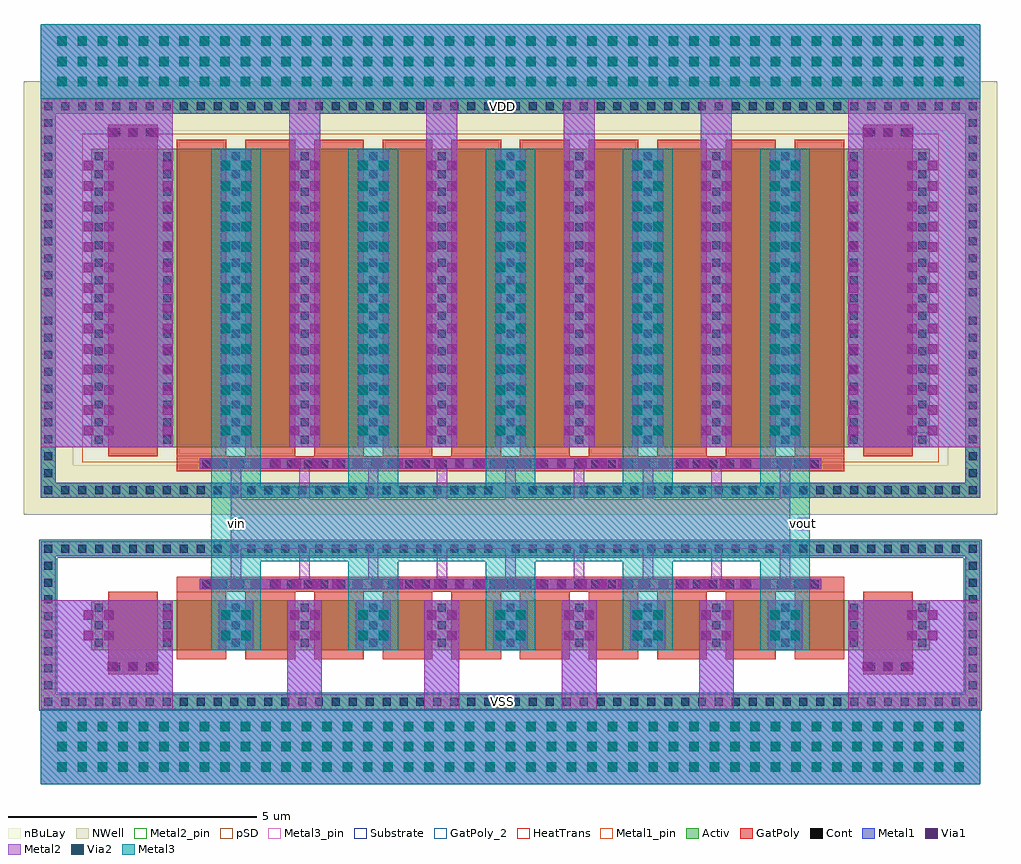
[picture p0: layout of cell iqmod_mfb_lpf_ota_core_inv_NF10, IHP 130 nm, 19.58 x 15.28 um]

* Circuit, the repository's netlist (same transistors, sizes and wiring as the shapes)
** sch_path: /foss/designs/TinyWhisper/ihp130/macros/iqmod/xschem/iqmod_mfb_lpf_ota_core_inv_NF10.sch
.subckt iqmod_mfb_lpf_ota_core_inv_NF10 nwell psub VDD vin vout VSS
*.PININFO vin:I VDD:B VSS:B vout:B nwell:B psub:B
MM1 vout vin VSS psub sg13_lv_nmos w=10.0u l=1.0u ng=10
MM2 vout vin VDD nwell sg13_lv_pmos w=60.0u l=1.0u ng=10
MMdummy1 VSS VSS VSS psub sg13_lv_nmos w=2.0u l=1.0u ng=2
MMdummy2 VDD VDD VDD nwell sg13_lv_pmos w=12.0u l=1.0u ng=2
RR1 VDD nwell ntap1 A=1.578e-11 P=0.0001052
RR2 VSS psub ptap1 A=1.2996e-11 P=8.664e-05
.ends

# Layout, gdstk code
import gdstk
lib = gdstk.Library(unit=1e-6, precision=5e-09)
def R(c, l, rs):  # rectangles x0, y0, x1, y1
    for r in rs: c.add(gdstk.rectangle(r[:2], r[2:], *l))
def A(c, l, x, y, w, h, nx, ny, dx, dy):  # array of equal rectangles
    R(c, l, [(x+i*dx, y+j*dy, x+i*dx+w, y+j*dy+h) for i in range(nx) for j in range(ny)])
def P(c, l, *ps):  # polygons
    for p in ps: c.add(gdstk.Polygon(p, *l))
Activ = (1, 0)
GatPoly = (5, 0)
GatPoly_2 = (5, 2)
Cont = (6, 0)
Metal1 = (8, 0)
Metal1_pin = (8, 2)
Metal2 = (10, 0)
Metal2_pin = (10, 2)
pSD = (14, 0)
Via1 = (19, 0)
Via2 = (29, 0)
Metal3 = (30, 0)
Metal3_pin = (30, 2)
NWell = (31, 0)
nBuLay = (32, 0)
Substrate = (40, 0)
HeatTrans = (51, 0)

pmos = lib.new_cell('pmos')
A(pmos, Activ, 0, 0, 0.3, 0.3, 13, 1, 1.38, 0)
R(pmos, Activ, [(-1.01,-0.71,-0.71,6.71), (17.57,-0.71,17.87,6.71), (0,0,16.86,6), (-1.01,6.71,17.87,7.01)])
P(pmos, Activ, [(-1.01,-1.01),(-1.01,6.71),(-0.71,6.71),(-0.71,-0.71),(17.57,-0.71),(17.57,6.71),(-1.01,6.71),(-1.01,7.01),(17.87,7.01),(17.87,-1.01)])
A(pmos, GatPoly, 0.34, -0.18, 1, 6.36, 12, 1, 1.38, 0)
R(pmos, GatPoly, [(0.34,-0.18,1.34,6.18)])
A(pmos, Cont, -0.94, -0.94, 0.16, 0.16, 27, 2, 0.34, 7.72)
A(pmos, Cont, 8.46, -0.94, 0.16, 0.16, 28, 2, 0.34, 7.72)
A(pmos, Cont, -0.94, -0.6, 0.16, 0.16, 1, 10, 0, 0.34)
A(pmos, Cont, 17.64, -0.6, 0.16, 0.16, 1, 10, 0, 0.34)
A(pmos, Cont, 0.07, 0.07, 0.16, 0.16, 13, 4, 1.38, 0.355)
A(pmos, Cont, 0.07, 1.495, 0.16, 0.16, 13, 4, 1.38, 0.355)
A(pmos, Cont, 0.07, 2.92, 0.16, 0.16, 13, 4, 1.38, 0.355)
A(pmos, Cont, -0.94, 3.04, 0.16, 0.16, 1, 11, 0, 0.34)
A(pmos, Cont, 17.64, 3.04, 0.16, 0.16, 1, 11, 0, 0.34)
A(pmos, Cont, 0.07, 4.345, 0.16, 0.16, 13, 4, 1.38, 0.355)
A(pmos, Cont, 0.07, 5.77, 0.16, 0.16, 13, 1, 1.38, 0)
A(pmos, Metal1, 1.45, 0, 0.16, 6, 12, 1, 1.38, 0)
R(pmos, Metal1, [(-1.01,-1.01,17.87,-0.71), (-1.01,-0.71,-0.71,6.71), (17.57,-0.71,17.87,6.71), (0.07,0,0.23,6), (0.07,0,0.23,6), (1.45,0,1.61,6), (-1.01,6.71,17.87,7.01)])
R(pmos, pSD, [(-0.18,-0.3,17.04,6.3)])
R(pmos, NWell, [(-1.36,-1.36,18.22,7.36), (-0.31,-0.31,17.17,6.31)])
R(pmos, nBuLay, [(-1.36,-0.36,-0.36,6.36), (17.22,-0.36,18.22,6.36), (-1.36,6.36,18.22,7.36)])
P(pmos, nBuLay, [(-1.36,-1.36),(-1.36,6.36),(-0.36,6.36),(-0.36,-0.36),(17.22,-0.36),(17.22,6.36),(-1.36,6.36),(-1.36,7.36),(18.22,7.36),(18.22,-1.36)])
R(pmos, Substrate, [(16.56,0,16.86,0.3)])
A(pmos, HeatTrans, 0.34, -0.18, 1, 6.36, 12, 1, 1.38, 0)
pmos.add(gdstk.Label('pmos', (0.84,3), layer=63, texttype=0))
pmos.add(gdstk.Label('well', (8.43,-0.86), layer=63, texttype=0))
pmos.add(gdstk.Label('pmos', (0.84,3), layer=51, texttype=0))
pmos.add(gdstk.Label('pmos', (2.22,3), layer=51, texttype=0))
pmos.add(gdstk.Label('pmos', (3.6,3), layer=51, texttype=0))
pmos.add(gdstk.Label('pmos', (4.98,3), layer=51, texttype=0))
pmos.add(gdstk.Label('pmos', (6.36,3), layer=51, texttype=0))
pmos.add(gdstk.Label('pmos', (7.74,3), layer=51, texttype=0))
pmos.add(gdstk.Label('pmos', (9.12,3), layer=51, texttype=0))
pmos.add(gdstk.Label('pmos', (10.5,3), layer=51, texttype=0))
pmos.add(gdstk.Label('pmos', (11.88,3), layer=51, texttype=0))
pmos.add(gdstk.Label('pmos', (13.26,3), layer=51, texttype=0))
pmos.add(gdstk.Label('pmos', (14.64,3), layer=51, texttype=0))
pmos.add(gdstk.Label('pmos', (16.02,3), layer=51, texttype=0))

nmos_1 = lib.new_cell('nmos$1')
A(nmos_1, Activ, 0, 0, 0.3, 0.3, 13, 1, 1.38, 0)
R(nmos_1, Activ, [(-1.01,-0.89,-0.71,1.89), (17.57,-0.89,17.87,1.89), (0,0,16.86,1), (-1.01,1.89,17.87,2.19)])
P(nmos_1, Activ, [(-1.01,-1.19),(-1.01,1.89),(-0.71,1.89),(-0.71,-0.89),(17.57,-0.89),(17.57,1.89),(-1.01,1.89),(-1.01,2.19),(17.87,2.19),(17.87,-1.19)])
A(nmos_1, GatPoly, 0.34, -0.18, 1, 1.36, 12, 1, 1.38, 0)
R(nmos_1, GatPoly_2, [(0.34,-0.18,1.34,1.18)])
A(nmos_1, Cont, -0.94, -1.12, 0.16, 0.16, 27, 2, 0.34, 3.08)
A(nmos_1, Cont, 8.46, -1.12, 0.16, 0.16, 28, 2, 0.34, 3.08)
A(nmos_1, Cont, -0.94, -0.78, 0.16, 0.16, 1, 4, 0, 0.34)
A(nmos_1, Cont, 17.64, -0.78, 0.16, 0.16, 1, 4, 0, 0.34)
A(nmos_1, Cont, 0.07, 0.07, 0.16, 0.16, 13, 3, 1.38, 0.35)
A(nmos_1, Cont, -0.94, 0.6, 0.16, 0.16, 1, 4, 0, 0.34)
A(nmos_1, Cont, 17.64, 0.6, 0.16, 0.16, 1, 4, 0, 0.34)
A(nmos_1, Metal1, 0.07, 0, 0.16, 1, 13, 1, 1.38, 0)
R(nmos_1, Metal1, [(-1.01,-1.19,17.87,-0.89), (-1.01,-0.89,-0.71,1.89), (17.57,-0.89,17.87,1.89), (-1.01,1.89,17.87,2.19)])
R(nmos_1, Metal1_pin, [(0.07,0,0.23,1), (1.45,0,1.61,1)])
R(nmos_1, pSD, [(-1.04,-0.86,-0.68,1.86), (17.54,-0.86,17.9,1.86), (-1.04,1.86,17.9,2.22)])
P(nmos_1, pSD, [(-1.04,-1.22),(-1.04,1.86),(-0.68,1.86),(-0.68,-0.86),(17.54,-0.86),(17.54,1.86),(-1.04,1.86),(-1.04,2.22),(17.9,2.22),(17.9,-1.22)])
R(nmos_1, Substrate, [(-1.04,-0.86,-0.68,1.86), (17.54,-0.86,17.9,1.86), (-1.04,1.86,17.9,2.22)])
P(nmos_1, Substrate, [(-1.04,-1.22),(-1.04,1.86),(-0.68,1.86),(-0.68,-0.86),(17.54,-0.86),(17.54,1.86),(-1.04,1.86),(-1.04,2.22),(17.9,2.22),(17.9,-1.22)])
A(nmos_1, HeatTrans, 0.34, -0.18, 1, 1.36, 12, 1, 1.38, 0)
nmos_1.add(gdstk.Label('nmos', (0.84,0.5), layer=63, texttype=0))
nmos_1.add(gdstk.Label('sub!', (8.43,-1.04), layer=63, texttype=0))
nmos_1.add(gdstk.Label('nmos', (0.84,0.5), layer=51, texttype=0))
nmos_1.add(gdstk.Label('nmos', (2.22,0.5), layer=51, texttype=0))
nmos_1.add(gdstk.Label('nmos', (3.6,0.5), layer=51, texttype=0))
nmos_1.add(gdstk.Label('nmos', (4.98,0.5), layer=51, texttype=0))
nmos_1.add(gdstk.Label('nmos', (6.36,0.5), layer=51, texttype=0))
nmos_1.add(gdstk.Label('nmos', (7.74,0.5), layer=51, texttype=0))
nmos_1.add(gdstk.Label('nmos', (9.12,0.5), layer=51, texttype=0))
nmos_1.add(gdstk.Label('nmos', (10.5,0.5), layer=51, texttype=0))
nmos_1.add(gdstk.Label('nmos', (11.88,0.5), layer=51, texttype=0))
nmos_1.add(gdstk.Label('nmos', (13.26,0.5), layer=51, texttype=0))
nmos_1.add(gdstk.Label('nmos', (14.64,0.5), layer=51, texttype=0))
nmos_1.add(gdstk.Label('nmos', (16.02,0.5), layer=51, texttype=0))

via_stack_17 = lib.new_cell('via_stack$17')
R(via_stack_17, Metal1, [(-9.165,-0.515,9.165,0.515)])
R(via_stack_17, Metal2, [(-9.165,-0.51,9.165,0.51)])
A(via_stack_17, Via1, -9.115, -0.505, 0.19, 0.19, 45, 3, 0.41, 0.41)
A(via_stack_17, Via2, -9.115, -0.505, 0.19, 0.19, 45, 3, 0.41, 0.41)
R(via_stack_17, Metal3, [(-9.165,-0.51,9.165,0.51)])

via_stack_19 = lib.new_cell('via_stack$19')
R(via_stack_19, Metal1, [(-6.09,-0.105,6.09,0.105)])
R(via_stack_19, Metal2, [(-6.09,-0.1,6.09,0.1)])
A(via_stack_19, Via1, -6.04, -0.095, 0.19, 0.19, 30, 1, 0.41, 0)

via_stack_5 = lib.new_cell('via_stack$5')
R(via_stack_5, Metal1, [(-0.35,-0.31,0.35,0.31)])
R(via_stack_5, Metal2, [(-0.35,-0.305,0.35,0.305)])
R(via_stack_5, Via1, [(-0.3,-0.3,-0.11,-0.11), (0.11,-0.3,0.3,-0.11), (-0.3,0.11,-0.11,0.3), (0.11,0.11,0.3,0.3)])

via_stack_12 = lib.new_cell('via_stack$12')
R(via_stack_12, Metal1, [(-0.31,-2.81,0.31,2.81)])
R(via_stack_12, Metal2, [(-0.305,-2.81,0.305,2.81)])
A(via_stack_12, Via1, -0.3, -2.76, 0.19, 0.19, 1, 14, 0, 0.41)
A(via_stack_12, Via1, 0.11, -2.76, 0.19, 0.19, 1, 14, 0, 0.41)
A(via_stack_12, Via2, -0.3, -2.76, 0.19, 0.19, 1, 14, 0, 0.41)
A(via_stack_12, Via2, 0.11, -2.76, 0.19, 0.19, 1, 14, 0, 0.41)
R(via_stack_12, Metal3, [(-0.305,-2.81,0.305,2.81)])

via_stack_16 = lib.new_cell('via_stack$16')
R(via_stack_16, GatPoly, [(-6.27,-0.15,6.27,0.15)])
A(via_stack_16, Cont, -6.2, -0.08, 0.16, 0.16, 37, 1, 0.34, 0)
R(via_stack_16, Metal1, [(-6.25,-0.08,6.25,0.08)])

via_stack = lib.new_cell('via_stack')
R(via_stack, Metal1, [(-0.35,-0.31,0.35,0.31)])
R(via_stack, Metal2, [(-0.35,-0.305,0.35,0.305)])
R(via_stack, Via1, [(-0.3,-0.3,-0.11,-0.11), (0.11,-0.3,0.3,-0.11), (-0.3,0.11,-0.11,0.3), (0.11,0.11,0.3,0.3)])
R(via_stack, Via2, [(-0.3,-0.3,-0.11,-0.11), (0.11,-0.3,0.3,-0.11), (-0.3,0.11,-0.11,0.3), (0.11,0.11,0.3,0.3)])
R(via_stack, Metal3, [(-0.35,-0.305,0.35,0.305)])

via_stack_8 = lib.new_cell('via_stack$8')
R(via_stack_8, Metal1, [(-0.105,-0.35,0.105,0.35)])
R(via_stack_8, Metal2, [(-0.1,-0.35,0.1,0.35)])
R(via_stack_8, Via1, [(-0.095,-0.3,0.095,-0.11), (-0.095,0.11,0.095,0.3)])

via_stack_11 = lib.new_cell('via_stack$11')
R(via_stack_11, Metal1, [(-0.31,-2.81,0.31,2.81)])
R(via_stack_11, Metal2, [(-0.305,-2.81,0.305,2.81)])
A(via_stack_11, Via1, -0.3, -2.76, 0.19, 0.19, 1, 14, 0, 0.41)
A(via_stack_11, Via1, 0.11, -2.76, 0.19, 0.19, 1, 14, 0, 0.41)

via_stack_7 = lib.new_cell('via_stack$7')
R(via_stack_7, Metal1, [(-0.105,-2.81,0.105,2.81)])
R(via_stack_7, Metal2, [(-0.1,-2.81,0.1,2.81)])
A(via_stack_7, Via1, -0.095, -2.76, 0.19, 0.19, 1, 14, 0, 0.41)

via_stack_15 = lib.new_cell('via_stack$15')
R(via_stack_15, GatPoly, [(-0.49,-0.15,0.49,0.15)])
A(via_stack_15, Cont, -0.42, -0.08, 0.16, 0.16, 3, 1, 0.34, 0)
R(via_stack_15, Metal1, [(-0.555,-0.105,0.555,0.105)])
R(via_stack_15, Metal2, [(-0.555,-0.1,0.555,0.1)])
A(via_stack_15, Via1, -0.505, -0.095, 0.19, 0.19, 3, 1, 0.41, 0)

iqmod_mfb_lpf_ota_core_i = lib.new_cell('iqmod_mfb_lpf_ota_core_inv_NF10')
R(iqmod_mfb_lpf_ota_core_i, GatPoly, [(1.7,2.21,2.7,2.51), (16.88,2.21,17.88,2.51), (3.08,3.87,16.5,4.17), (3.08,6.29,16.5,6.59), (1.7,12.95,2.7,13.25), (16.88,12.95,17.88,13.25)])
A(iqmod_mfb_lpf_ota_core_i, Metal1, 5.3, 1.5, 0.7, 2.19, 4, 1, 2.76, 0)
A(iqmod_mfb_lpf_ota_core_i, Metal1, 3.92, 2.69, 0.7, 1, 9, 1, 1.38, 0)
A(iqmod_mfb_lpf_ota_core_i, Metal1, 3.96, 6.77, 0.62, 6, 9, 1, 1.38, 0)
A(iqmod_mfb_lpf_ota_core_i, Metal1, 5.34, 6.77, 0.62, 7.01, 4, 1, 2.76, 0)
R(iqmod_mfb_lpf_ota_core_i, Metal1, [(0.35,0,19.23,1.5), (0.35,1.5,2.995,3.69), (9.37,1.5,9.87,1.8), (16.585,1.5,19.23,3.69), (1.645,2.21,2.755,2.51), (16.825,2.21,17.935,2.51), (1.16,2.69,1.86,3.69), (17.72,2.69,18.42,3.69), (3.54,3.915,16.04,4.125), (3.54,6.335,16.04,6.545), (0.35,6.77,2.995,13.78), (1.2,6.77,1.82,12.77), (2.785,6.77,2.995,12.77), (16.585,6.77,19.23,13.78), (16.585,6.77,16.795,12.77), (17.76,6.77,18.38,12.77), (1.645,12.95,2.755,13.25), (16.825,12.95,17.935,13.25), (9.37,13.48,9.87,13.78), (0.35,13.78,19.23,15.28)])
R(iqmod_mfb_lpf_ota_core_i, Metal1_pin, [(9.495,1.525,9.745,1.775), (9.495,13.505,9.745,13.755)])
A(iqmod_mfb_lpf_ota_core_i, Metal2, 5.3, 1.5, 0.7, 2.19, 4, 1, 2.76, 0)
A(iqmod_mfb_lpf_ota_core_i, Metal2, 3.92, 2.69, 0.7, 1, 9, 1, 1.38, 0)
A(iqmod_mfb_lpf_ota_core_i, Metal2, 4.165, 4.12, 0.21, 2.22, 9, 1, 1.38, 0)
A(iqmod_mfb_lpf_ota_core_i, Metal2, 3.96, 6.77, 0.62, 6, 9, 1, 1.38, 0)
A(iqmod_mfb_lpf_ota_core_i, Metal2, 5.34, 6.77, 0.62, 7.01, 4, 1, 2.76, 0)
R(iqmod_mfb_lpf_ota_core_i, Metal2, [(0.35,0,19.23,1.5), (0.35,1.5,2.995,3.69), (16.585,1.5,19.23,3.69), (1.645,2.21,2.755,2.51), (16.825,2.21,17.935,2.51), (1.16,2.69,1.86,3.69), (17.72,2.69,18.42,3.69), (3.54,3.915,16.04,4.125), (4.165,4.73,15.415,5.73), (3.54,6.335,16.04,6.545), (0.35,6.77,2.995,13.78), (1.2,6.77,1.82,12.77), (2.785,6.77,2.995,12.77), (16.585,6.77,19.23,13.78), (16.585,6.77,16.795,12.77), (17.76,6.77,18.38,12.77), (1.645,12.95,2.755,13.25), (16.825,12.95,17.935,13.25), (0.35,13.78,19.23,15.28)])
R(iqmod_mfb_lpf_ota_core_i, Metal2_pin, [(4.165,5.105,4.415,5.355)])
A(iqmod_mfb_lpf_ota_core_i, Metal3, 3.77, 2.69, 1, 10.08, 5, 1, 2.76, 0)
R(iqmod_mfb_lpf_ota_core_i, Metal3, [(0.35,0,19.23,1.5), (3.77,4.48,15.81,5.98), (0.35,13.78,19.23,15.28)])
R(iqmod_mfb_lpf_ota_core_i, Metal3_pin, [(15.56,5.105,15.81,5.355)])
iqmod_mfb_lpf_ota_core_i.add(gdstk.Reference(pmos, (1.36,6.77)))
iqmod_mfb_lpf_ota_core_i.add(gdstk.Reference(nmos_1, (1.36,2.69)))
iqmod_mfb_lpf_ota_core_i.add(gdstk.Reference(via_stack_17, (9.79,14.53)))
iqmod_mfb_lpf_ota_core_i.add(gdstk.Reference(via_stack_19, (9.79,6.44)))
iqmod_mfb_lpf_ota_core_i.add(gdstk.Reference(via_stack_19, (9.79,4.02)))
iqmod_mfb_lpf_ota_core_i.add(gdstk.Reference(via_stack_5, (11.17,3.19)))
iqmod_mfb_lpf_ota_core_i.add(gdstk.Reference(via_stack_12, (4.27,9.77)))
iqmod_mfb_lpf_ota_core_i.add(gdstk.Reference(via_stack_16, (9.79,4.02)))
iqmod_mfb_lpf_ota_core_i.add(gdstk.Reference(via_stack, (4.27,3.19)))
iqmod_mfb_lpf_ota_core_i.add(gdstk.Reference(via_stack, (7.03,3.19)))
iqmod_mfb_lpf_ota_core_i.add(gdstk.Reference(via_stack_5, (18.07,3.19)))
iqmod_mfb_lpf_ota_core_i.add(gdstk.Reference(via_stack_5, (8.41,3.19)))
iqmod_mfb_lpf_ota_core_i.add(gdstk.Reference(via_stack_5, (5.65,3.19)))
iqmod_mfb_lpf_ota_core_i.add(gdstk.Reference(via_stack_8, (16.69,3.19)))
iqmod_mfb_lpf_ota_core_i.add(gdstk.Reference(via_stack_5, (1.51,3.19)))
iqmod_mfb_lpf_ota_core_i.add(gdstk.Reference(via_stack, (9.79,3.19)))
iqmod_mfb_lpf_ota_core_i.add(gdstk.Reference(via_stack_8, (2.89,3.19)))
iqmod_mfb_lpf_ota_core_i.add(gdstk.Reference(via_stack_11, (18.07,9.77)))
iqmod_mfb_lpf_ota_core_i.add(gdstk.Reference(via_stack_12, (9.79,9.77)))
iqmod_mfb_lpf_ota_core_i.add(gdstk.Reference(via_stack_7, (16.69,9.77)))
iqmod_mfb_lpf_ota_core_i.add(gdstk.Reference(via_stack_7, (2.89,9.77)))
iqmod_mfb_lpf_ota_core_i.add(gdstk.Reference(via_stack_11, (1.51,9.77)))
iqmod_mfb_lpf_ota_core_i.add(gdstk.Reference(via_stack_12, (7.03,9.77)))
iqmod_mfb_lpf_ota_core_i.add(gdstk.Reference(via_stack_11, (5.65,9.77)))
iqmod_mfb_lpf_ota_core_i.add(gdstk.Reference(via_stack_11, (8.41,9.77)))
iqmod_mfb_lpf_ota_core_i.add(gdstk.Reference(via_stack_15, (2.2,2.36)))
iqmod_mfb_lpf_ota_core_i.add(gdstk.Reference(via_stack_15, (17.38,2.36)))
iqmod_mfb_lpf_ota_core_i.add(gdstk.Reference(via_stack_15, (2.2,13.1)))
iqmod_mfb_lpf_ota_core_i.add(gdstk.Reference(via_stack_15, (17.38,13.1)))
iqmod_mfb_lpf_ota_core_i.add(gdstk.Reference(via_stack_12, (12.55,9.77)))
iqmod_mfb_lpf_ota_core_i.add(gdstk.Reference(via_stack_16, (9.79,6.44)))
iqmod_mfb_lpf_ota_core_i.add(gdstk.Reference(via_stack, (12.55,3.19)))
iqmod_mfb_lpf_ota_core_i.add(gdstk.Reference(via_stack, (15.31,3.19)))
iqmod_mfb_lpf_ota_core_i.add(gdstk.Reference(via_stack_5, (13.93,3.19)))
iqmod_mfb_lpf_ota_core_i.add(gdstk.Reference(via_stack_12, (15.31,9.77)))
iqmod_mfb_lpf_ota_core_i.add(gdstk.Reference(via_stack_11, (11.17,9.77)))
iqmod_mfb_lpf_ota_core_i.add(gdstk.Reference(via_stack_11, (13.93,9.77)))
iqmod_mfb_lpf_ota_core_i.add(gdstk.Reference(via_stack_17, (9.79,0.75)))
iqmod_mfb_lpf_ota_core_i.add(gdstk.Label('vin', (4.29,5.23), layer=10, texttype=25))
iqmod_mfb_lpf_ota_core_i.add(gdstk.Label('VDD', (9.62,13.63), layer=8, texttype=25))
iqmod_mfb_lpf_ota_core_i.add(gdstk.Label('VSS', (9.62,1.65), layer=8, texttype=25))
iqmod_mfb_lpf_ota_core_i.add(gdstk.Label('vout', (15.685,5.23), layer=30, texttype=25))

lib.write_gds('iqmod_mfb_lpf_ota_core_inv_NF10.gds')
